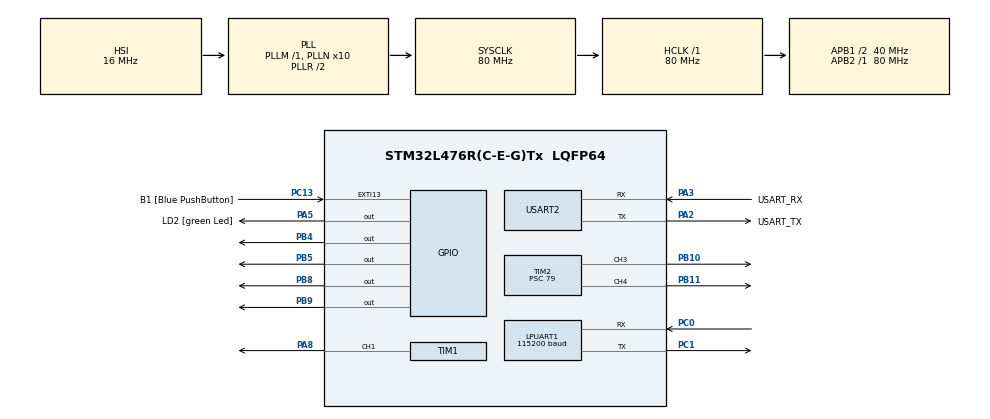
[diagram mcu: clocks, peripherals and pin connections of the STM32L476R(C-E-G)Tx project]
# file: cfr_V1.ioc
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LPUART1.BaudRate=115200
LPUART1.WordLength=UART_WORDLENGTH_8B
Mcu.Family=STM32L4
Mcu.Name=STM32L476R(C-E-G)Tx
Mcu.Package=LQFP64
NVIC.LPUART1_IRQn=true\:0\:0\:false\:false\:true\:true\:true\:true
NVIC.PriorityGroup=NVIC_PRIORITYGROUP_4
PA13\ (JTMS-SWDIO).GPIO_Label=TMS
PA13\ (JTMS-SWDIO).Mode=Serial_Wire
PA13\ (JTMS-SWDIO).Signal=SYS_JTMS-SWDIO
PA14\ (JTCK-SWCLK).GPIO_Label=TCK
PA14\ (JTCK-SWCLK).Mode=Serial_Wire
PA14\ (JTCK-SWCLK).Signal=SYS_JTCK-SWCLK
PA2.GPIO_Label=USART_TX
PA2.GPIO_Mode=GPIO_MODE_AF_PP
PA2.GPIO_PuPd=GPIO_NOPULL
PA2.GPIO_Speed=GPIO_SPEED_FREQ_VERY_HIGH
PA2.Mode=Asynchronous
PA2.Signal=USART2_TX
PA3.GPIO_Label=USART_RX
PA3.GPIO_Mode=GPIO_MODE_AF_PP
PA3.GPIO_PuPd=GPIO_NOPULL
PA3.GPIO_Speed=GPIO_SPEED_FREQ_VERY_HIGH
PA3.Mode=Asynchronous
PA3.Signal=USART2_RX
PA5.GPIO_Label=LD2 [green Led]
PA5.GPIO_ModeDefaultOutputPP=GPIO_MODE_OUTPUT_PP
PA5.GPIO_PuPd=GPIO_NOPULL
PA5.GPIO_Speed=GPIO_SPEED_FREQ_LOW
PA5.Signal=GPIO_Output
PA8.Signal=S_TIM1_CH1
PB10.Signal=S_TIM2_CH3
PB11.Signal=S_TIM2_CH4
PB3\ (JTDO-TRACESWO).GPIO_Label=SWO
PB3\ (JTDO-TRACESWO).Signal=SYS_JTDO-SWO
PB4\ (NJTRST).Signal=GPIO_Output
PB5.Signal=GPIO_Output
PB8.Signal=GPIO_Output
PB9.Signal=GPIO_Output
PC0.Mode=Asynchronous
PC0.Signal=LPUART1_RX
PC1.Mode=Asynchronous
PC1.Signal=LPUART1_TX
PC13.GPIO_Label=B1 [Blue PushButton]
PC13.GPIO_ModeDefaultEXTI=GPIO_MODE_IT_FALLING
PC13.GPIO_PuPd=GPIO_NOPULL
PC13.Signal=GPXTI13
PC14-OSC32_IN\ (PC14).Mode=LSE-External-Oscillator
PC14-OSC32_IN\ (PC14).Signal=RCC_OSC32_IN
PC15-OSC32_OUT\ (PC15).Mode=LSE-External-Oscillator
PC15-OSC32_OUT\ (PC15).Signal=RCC_OSC32_OUT
PH0-OSC_IN\ (PH0).Mode=HSE-External-Oscillator
PH0-OSC_IN\ (PH0).Signal=RCC_OSC_IN
PH1-OSC_OUT\ (PH1).Mode=HSE-External-Oscillator
PH1-OSC_OUT\ (PH1).Signal=RCC_OSC_OUT
ProjectManager.HeapSize=0x200
ProjectManager.StackSize=0x400
ProjectManager.TargetToolchain=STM32CubeIDE
RCC.ADCFreq_Value=64000000
RCC.AHBFreq_Value=80000000
RCC.APB1CLKDivider=RCC_HCLK_DIV2
RCC.APB1Freq_Value=40000000
RCC.APB1TimFreq_Value=80000000
RCC.APB2Freq_Value=80000000
RCC.APB2TimFreq_Value=80000000
RCC.CortexFreq_Value=80000000
RCC.HCLKFreq_Value=80000000
RCC.HSE_VALUE=8000000
RCC.HSI_VALUE=16000000
RCC.MSI_VALUE=4000000
RCC.PLLN=10
RCC.PLLSourceVirtual=RCC_PLLSOURCE_HSI
RCC.PREFETCH_ENABLE=1
RCC.SYSCLKFreq_VALUE=80000000
RCC.SYSCLKSource=RCC_SYSCLKSOURCE_PLLCLK
RCC.USBFreq_Value=64000000
RCC.VCOOutputFreq_Value=160000000
SH.S_TIM1_CH1.0=TIM1_CH1,PWM Generation1 CH1
SH.S_TIM2_CH3.0=TIM2_CH3,PWM Generation3 CH3
SH.S_TIM2_CH4.0=TIM2_CH4,PWM Generation4 CH4
TIM1.Channel-PWM\ Generation1\ CH1=TIM_CHANNEL_1
TIM1.Period=1000-1
TIM1.Prescaler=1600-1
TIM2.Channel-PWM\ Generation3\ CH3=TIM_CHANNEL_3
TIM2.Channel-PWM\ Generation4\ CH4=TIM_CHANNEL_4
TIM2.Period=1999
TIM2.Prescaler=79
USART2.VirtualMode-Asynchronous=VM_ASYNC
VP_TIM1_VS_ClockSourceINT.Mode=Internal
VP_TIM2_VS_ClockSourceINT.Mode=Internal
board=NUCLEO-L476RG

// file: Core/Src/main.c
/* USER CODE BEGIN Header */
/**
  ******************************************************************************
  * @file           : main.c
  * @brief          : Main program body
  ******************************************************************************
  * @attention
  *
  * Copyright (c) 2024 STMicroelectronics.
  * All rights reserved.
  *
  * This software is licensed under terms that can be found in the LICENSE file
  * in the root directory of this software component.
  * If no LICENSE file comes with this software, it is provided AS-IS.
  *
  ******************************************************************************
  */
/* USER CODE END Header */
#include "main.h"

/* USER CODE BEGIN Includes */
#include <string.h>
#include <stdio.h>
#include "servo.h"
/* USER CODE END Includes */

UART_HandleTypeDef hlpuart1;
UART_HandleTypeDef huart2;

TIM_HandleTypeDef htim1;
TIM_HandleTypeDef htim2;

/* USER CODE BEGIN PV */
uint8_t tx_buffer[27] = "Hello Ares \n\r";
uint8_t rx_data[11];
int i = 0;

/* USER CODE END PV */

void SystemClock_Config(void);
static void MX_GPIO_Init(void);
static void MX_USART2_UART_Init(void);
static void MX_TIM2_Init(void);
static void MX_LPUART1_UART_Init(void);
static void MX_TIM1_Init(void);

int main(void)
{

  /* MCU Configuration--------------------------------------------------------*/

  /* Reset of all peripherals, Initializes the Flash interface and the Systick. */
  HAL_Init();

  /* Configure the system clock */
  SystemClock_Config();

  /* Initialize all configured peripherals */
  MX_GPIO_Init();
  MX_USART2_UART_Init();
  MX_TIM2_Init();
  MX_LPUART1_UART_Init();
  MX_TIM1_Init();
  /* USER CODE BEGIN 2 */
  HAL_TIM_PWM_Start(&htim2, TIM_CHANNEL_3); //PB10 TIM2 CH3
  HAL_TIM_PWM_Start(&htim1, TIM_CHANNEL_1); //PA 8 TIM1 CH1
  HAL_TIM_PWM_Start(&htim2, TIM_CHANNEL_4); //PB11 TIM2 CH4
  HAL_UART_Receive_IT(&hlpuart1,(uint8_t*)rx_data, 11);  // Start receiving data initially
  /* USER CODE END 2 */

  /* Infinite loop */
  /* USER CODE BEGIN WHILE */
  while (1)
  {

	      // Extraire les 4 premiers octets pour le moteur Maxon droit
	  	  char mot_maxon_dataD[4];
	  	  char direc[1];
	  	  strncpy(direc, (char *)&rx_data, 1);
	  	  //int dir_R = (int)rx_data[0];
	  	  strncpy(mot_maxon_dataD, (char *)&rx_data + 1, 4);
	  	  //mot_maxon_dataD[4] = '\0'; // Null terminate
	  	  int mot_maxon_valueD = atoi(mot_maxon_dataD);
	  	  int dir_R= atoi(direc);
	  	  mot_maxonD(mot_maxon_valueD,dir_R);

	  	  // Extraire les octets 5 à 8 pour le moteur gauche
	  	  char mot_maxon_dataG[4];
	  	  char direc_G[1];
	  	  strncpy(direc_G, (char *)&rx_data + 5, 1);
	  	  strncpy(mot_maxon_dataG, (char *)&rx_data + 6, 4);
	  	  //mot_maxon_dataG[4] = '\0'; // Null terminate
	  	  int mot_maxon_valueG = atoi(mot_maxon_dataG);
	  	  int dir_G= atoi(direc_G);
	  	  mot_maxonG(mot_maxon_valueG,dir_G);

	  	  // Extraire les octets 5 à 8 pour le servo moteur
	  	  char servo_goal_data[1];
	  	  strncpy(servo_goal_data, (char *)&rx_data + 10, 1);
	  	  //servo_goal_data[2] = '\0'; // Null terminate
	  	  int servo_goal_value = atoi(servo_goal_data);
	  	  reach_goal_servo(servo_goal_value);

	  	  // Transmission pour debug
	  	  uint8_t newline[] = "\r\n\0";

	  	  HAL_UART_Transmit(&huart2, (uint8_t *)&dir_R, sizeof(dir_R), HAL_MAX_DELAY);
	  	  HAL_UART_Transmit(&huart2, newline, sizeof(newline) - 1, HAL_MAX_DELAY);
	  	  //HAL_UART_Transmit(&huart2, (uint8_t *)mot_maxon_dataD, sizeof(mot_maxon_dataD), HAL_MAX_DELAY);
	  	  //HAL_UART_Transmit(&huart2, newline, sizeof(newline) - 1, HAL_MAX_DELAY);
	  	  //HAL_UART_Transmit(&huart2, (uint8_t *)&mot_maxon_valueD, sizeof(mot_maxon_valueD), HAL_MAX_DELAY);

	  	  //HAL_UART_Transmit(&huart2, newline, sizeof(newline) - 1, HAL_MAX_DELAY);
	  	  HAL_UART_Transmit(&huart2, (uint8_t *)&dir_G, sizeof(dir_G), HAL_MAX_DELAY);
	  	  HAL_UART_Transmit(&huart2, newline, sizeof(newline) - 1, HAL_MAX_DELAY);
	  	  //HAL_UART_Transmit(&huart2, (uint8_t *)mot_maxon_dataG, sizeof(mot_maxon_dataG), HAL_MAX_DELAY);
	  	  //HAL_UART_Transmit(&huart2, newline, sizeof(newline) - 1, HAL_MAX_DELAY);
	  	  //HAL_UART_Transmit(&huart2, (uint8_t *)&mot_maxon_valueG, sizeof(mot_maxon_valueG), HAL_MAX_DELAY);

	  	  //HAL_UART_Transmit(&huart2, newline, sizeof(newline) - 1, HAL_MAX_DELAY);
	  	  //HAL_UART_Transmit(&huart2, (uint8_t *)servo_goal_data, sizeof(servo_goal_data), HAL_MAX_DELAY);
	  	  //HAL_UART_Transmit(&huart2, newline, sizeof(newline) - 1, HAL_MAX_DELAY);
	  	  //HAL_UART_Transmit(&huart2, (uint8_t *)&servo_goal_value, sizeof(servo_goal_value), HAL_MAX_DELAY);

	  	  //HAL_UART_Transmit(&huart2, newline, sizeof(newline) - 1, HAL_MAX_DELAY);

	  	  HAL_UART_Transmit(&huart2, (uint8_t *)rx_data, sizeof(rx_data), HAL_MAX_DELAY);

	  	  HAL_UART_Transmit(&huart2, newline, sizeof(newline) - 1, HAL_MAX_DELAY);
	  	  // Réactiver la réception des données
	  	  HAL_UART_Receive_IT(&hlpuart1, rx_data, sizeof(rx_data));

    /* USER CODE END WHILE */

  }
}

void SystemClock_Config(void)
{
  RCC_OscInitTypeDef RCC_OscInitStruct = {0};
  RCC_ClkInitTypeDef RCC_ClkInitStruct = {0};

  /** Configure the main internal regulator output voltage
  */
  if (HAL_PWREx_ControlVoltageScaling(PWR_REGULATOR_VOLTAGE_SCALE1) != HAL_OK)
  {
    Error_Handler();
  }

  /** Initializes the RCC Oscillators according to the specified parameters
  * in the RCC_OscInitTypeDef structure.
  */
  RCC_OscInitStruct.OscillatorType = RCC_OSCILLATORTYPE_HSI;
  RCC_OscInitStruct.HSIState = RCC_HSI_ON;
  RCC_OscInitStruct.HSICalibrationValue = RCC_HSICALIBRATION_DEFAULT;
  RCC_OscInitStruct.PLL.PLLState = RCC_PLL_ON;
  RCC_OscInitStruct.PLL.PLLSource = RCC_PLLSOURCE_HSI;
  RCC_OscInitStruct.PLL.PLLM = 1;
  RCC_OscInitStruct.PLL.PLLN = 10;
  RCC_OscInitStruct.PLL.PLLP = RCC_PLLP_DIV7;
  RCC_OscInitStruct.PLL.PLLQ = RCC_PLLQ_DIV2;
  RCC_OscInitStruct.PLL.PLLR = RCC_PLLR_DIV2;
  if (HAL_RCC_OscConfig(&RCC_OscInitStruct) != HAL_OK)
  {
    Error_Handler();
  }

  /** Initializes the CPU, AHB and APB buses clocks
  */
  RCC_ClkInitStruct.ClockType = RCC_CLOCKTYPE_HCLK|RCC_CLOCKTYPE_SYSCLK
                              |RCC_CLOCKTYPE_PCLK1|RCC_CLOCKTYPE_PCLK2;
  RCC_ClkInitStruct.SYSCLKSource = RCC_SYSCLKSOURCE_PLLCLK;
  RCC_ClkInitStruct.AHBCLKDivider = RCC_SYSCLK_DIV1;
  RCC_ClkInitStruct.APB1CLKDivider = RCC_HCLK_DIV2;
  RCC_ClkInitStruct.APB2CLKDivider = RCC_HCLK_DIV1;

  if (HAL_RCC_ClockConfig(&RCC_ClkInitStruct, FLASH_LATENCY_4) != HAL_OK)
  {
    Error_Handler();
  }
}

static void MX_LPUART1_UART_Init(void)
{

  hlpuart1.Instance = LPUART1;
  hlpuart1.Init.BaudRate = 115200;
  hlpuart1.Init.WordLength = UART_WORDLENGTH_8B;
  hlpuart1.Init.StopBits = UART_STOPBITS_1;
  hlpuart1.Init.Parity = UART_PARITY_NONE;
  hlpuart1.Init.Mode = UART_MODE_TX_RX;
  hlpuart1.Init.HwFlowCtl = UART_HWCONTROL_NONE;
  hlpuart1.Init.OneBitSampling = UART_ONE_BIT_SAMPLE_DISABLE;
  hlpuart1.AdvancedInit.AdvFeatureInit = UART_ADVFEATURE_NO_INIT;
  if (HAL_UART_Init(&hlpuart1) != HAL_OK)
  {
    Error_Handler();
  }

}

static void MX_USART2_UART_Init(void)
{

  huart2.Instance = USART2;
  huart2.Init.BaudRate = 115200;
  huart2.Init.WordLength = UART_WORDLENGTH_8B;
  huart2.Init.StopBits = UART_STOPBITS_1;
  huart2.Init.Parity = UART_PARITY_NONE;
  huart2.Init.Mode = UART_MODE_TX_RX;
  huart2.Init.HwFlowCtl = UART_HWCONTROL_NONE;
  huart2.Init.OverSampling = UART_OVERSAMPLING_16;
  huart2.Init.OneBitSampling = UART_ONE_BIT_SAMPLE_DISABLE;
  huart2.AdvancedInit.AdvFeatureInit = UART_ADVFEATURE_NO_INIT;
  if (HAL_UART_Init(&huart2) != HAL_OK)
  {
    Error_Handler();
  }

}

static void MX_TIM1_Init(void)
{

  TIM_ClockConfigTypeDef sClockSourceConfig = {0};
  TIM_MasterConfigTypeDef sMasterConfig = {0};
  TIM_OC_InitTypeDef sConfigOC = {0};
  TIM_BreakDeadTimeConfigTypeDef sBreakDeadTimeConfig = {0};

  htim1.Instance = TIM1;
  htim1.Init.Prescaler = 1600-1;
  htim1.Init.CounterMode = TIM_COUNTERMODE_UP;
  htim1.Init.Period = 1000-1;
  htim1.Init.ClockDivision = TIM_CLOCKDIVISION_DIV1;
  htim1.Init.RepetitionCounter = 0;
  htim1.Init.AutoReloadPreload = TIM_AUTORELOAD_PRELOAD_DISABLE;
  if (HAL_TIM_Base_Init(&htim1) != HAL_OK)
  {
    Error_Handler();
  }
  sClockSourceConfig.ClockSource = TIM_CLOCKSOURCE_INTERNAL;
  if (HAL_TIM_ConfigClockSource(&htim1, &sClockSourceConfig) != HAL_OK)
  {
    Error_Handler();
  }
  if (HAL_TIM_PWM_Init(&htim1) != HAL_OK)
  {
    Error_Handler();
  }
  sMasterConfig.MasterOutputTrigger = TIM_TRGO_RESET;
  sMasterConfig.MasterOutputTrigger2 = TIM_TRGO2_RESET;
  sMasterConfig.MasterSlaveMode = TIM_MASTERSLAVEMODE_DISABLE;
  if (HAL_TIMEx_MasterConfigSynchronization(&htim1, &sMasterConfig) != HAL_OK)
  {
    Error_Handler();
  }
  sConfigOC.OCMode = TIM_OCMODE_PWM1;
  sConfigOC.Pulse = 0;
  sConfigOC.OCPolarity = TIM_OCPOLARITY_HIGH;
  sConfigOC.OCNPolarity = TIM_OCNPOLARITY_HIGH;
  sConfigOC.OCFastMode = TIM_OCFAST_DISABLE;
  sConfigOC.OCIdleState = TIM_OCIDLESTATE_RESET;
  sConfigOC.OCNIdleState = TIM_OCNIDLESTATE_RESET;
  if (HAL_TIM_PWM_ConfigChannel(&htim1, &sConfigOC, TIM_CHANNEL_1) != HAL_OK)
  {
    Error_Handler();
  }
  sBreakDeadTimeConfig.OffStateRunMode = TIM_OSSR_DISABLE;
  sBreakDeadTimeConfig.OffStateIDLEMode = TIM_OSSI_DISABLE;
  sBreakDeadTimeConfig.LockLevel = TIM_LOCKLEVEL_OFF;
  sBreakDeadTimeConfig.DeadTime = 0;
  sBreakDeadTimeConfig.BreakState = TIM_BREAK_DISABLE;
  sBreakDeadTimeConfig.BreakPolarity = TIM_BREAKPOLARITY_HIGH;
  sBreakDeadTimeConfig.BreakFilter = 0;
  sBreakDeadTimeConfig.Break2State = TIM_BREAK2_DISABLE;
  sBreakDeadTimeConfig.Break2Polarity = TIM_BREAK2POLARITY_HIGH;
  sBreakDeadTimeConfig.Break2Filter = 0;
  sBreakDeadTimeConfig.AutomaticOutput = TIM_AUTOMATICOUTPUT_DISABLE;
  if (HAL_TIMEx_ConfigBreakDeadTime(&htim1, &sBreakDeadTimeConfig) != HAL_OK)
  {
    Error_Handler();
  }
  HAL_TIM_MspPostInit(&htim1);

}

static void MX_TIM2_Init(void)
{

  TIM_ClockConfigTypeDef sClockSourceConfig = {0};
  TIM_MasterConfigTypeDef sMasterConfig = {0};
  TIM_OC_InitTypeDef sConfigOC = {0};

  htim2.Instance = TIM2;
  htim2.Init.Prescaler = 79;
  htim2.Init.CounterMode = TIM_COUNTERMODE_UP;
  htim2.Init.Period = 1999;
  htim2.Init.ClockDivision = TIM_CLOCKDIVISION_DIV1;
  htim2.Init.AutoReloadPreload = TIM_AUTORELOAD_PRELOAD_DISABLE;
  if (HAL_TIM_Base_Init(&htim2) != HAL_OK)
  {
    Error_Handler();
  }
  sClockSourceConfig.ClockSource = TIM_CLOCKSOURCE_INTERNAL;
  if (HAL_TIM_ConfigClockSource(&htim2, &sClockSourceConfig) != HAL_OK)
  {
    Error_Handler();
  }
  if (HAL_TIM_PWM_Init(&htim2) != HAL_OK)
  {
    Error_Handler();
  }
  sMasterConfig.MasterOutputTrigger = TIM_TRGO_RESET;
  sMasterConfig.MasterSlaveMode = TIM_MASTERSLAVEMODE_DISABLE;
  if (HAL_TIMEx_MasterConfigSynchronization(&htim2, &sMasterConfig) != HAL_OK)
  {
    Error_Handler();
  }
  sConfigOC.OCMode = TIM_OCMODE_PWM1;
  sConfigOC.Pulse = 0;
  sConfigOC.OCPolarity = TIM_OCPOLARITY_HIGH;
  sConfigOC.OCFastMode = TIM_OCFAST_DISABLE;
  if (HAL_TIM_PWM_ConfigChannel(&htim2, &sConfigOC, TIM_CHANNEL_3) != HAL_OK)
  {
    Error_Handler();
  }
  if (HAL_TIM_PWM_ConfigChannel(&htim2, &sConfigOC, TIM_CHANNEL_4) != HAL_OK)
  {
    Error_Handler();
  }
  HAL_TIM_MspPostInit(&htim2);

}

static void MX_GPIO_Init(void)
{
  GPIO_InitTypeDef GPIO_InitStruct = {0};

  /* GPIO Ports Clock Enable */
  __HAL_RCC_GPIOC_CLK_ENABLE();
  __HAL_RCC_GPIOH_CLK_ENABLE();
  __HAL_RCC_GPIOA_CLK_ENABLE();
  __HAL_RCC_GPIOB_CLK_ENABLE();

  /*Configure GPIO pin Output Level */
  HAL_GPIO_WritePin(LD2_GPIO_Port, LD2_Pin, GPIO_PIN_RESET);

  /*Configure GPIO pin Output Level */
  HAL_GPIO_WritePin(GPIOB, GPIO_PIN_4|GPIO_PIN_5|GPIO_PIN_8|GPIO_PIN_9, GPIO_PIN_RESET);

  /*Configure GPIO pin : B1_Pin */
  GPIO_InitStruct.Pin = B1_Pin;
  GPIO_InitStruct.Mode = GPIO_MODE_IT_FALLING;
  GPIO_InitStruct.Pull = GPIO_NOPULL;
  HAL_GPIO_Init(B1_GPIO_Port, &GPIO_InitStruct);

  /*Configure GPIO pin : LD2_Pin */
  GPIO_InitStruct.Pin = LD2_Pin;
  GPIO_InitStruct.Mode = GPIO_MODE_OUTPUT_PP;
  GPIO_InitStruct.Pull = GPIO_NOPULL;
  GPIO_InitStruct.Speed = GPIO_SPEED_FREQ_LOW;
  HAL_GPIO_Init(LD2_GPIO_Port, &GPIO_InitStruct);

  /*Configure GPIO pins : PB4 PB5 PB8 PB9 */
  GPIO_InitStruct.Pin = GPIO_PIN_4|GPIO_PIN_5|GPIO_PIN_8|GPIO_PIN_9;
  GPIO_InitStruct.Mode = GPIO_MODE_OUTPUT_PP;
  GPIO_InitStruct.Pull = GPIO_NOPULL;
  GPIO_InitStruct.Speed = GPIO_SPEED_FREQ_LOW;
  HAL_GPIO_Init(GPIOB, &GPIO_InitStruct);

}

/* USER CODE BEGIN 4 */
void HAL_UART_RxCpltCallback(UART_HandleTypeDef *huart)
{

}
/* USER CODE END 4 */

void Error_Handler(void)
{
  __disable_irq();
  while (1)
  {
  }
}
